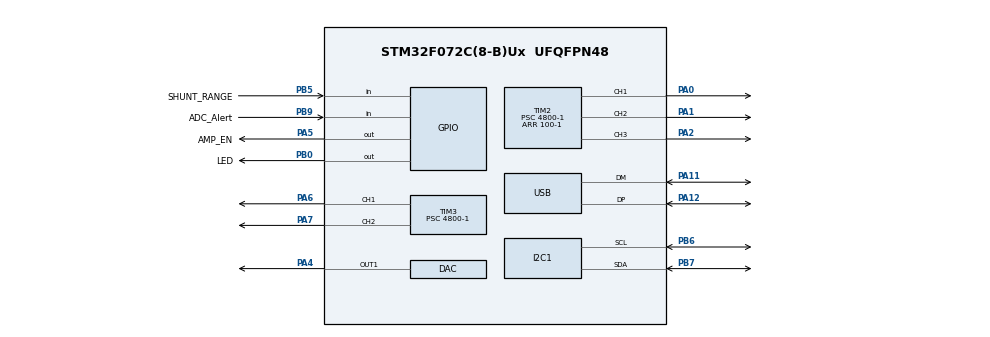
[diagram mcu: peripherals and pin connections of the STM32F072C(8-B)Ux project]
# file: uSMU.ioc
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Mcu.Family=STM32F0
Mcu.Name=STM32F072C(8-B)Ux
Mcu.Package=UFQFPN48
NVIC.USB_IRQn=true\:0\:0\:false\:false\:true\:false\:true
PA0.Signal=S_TIM2_CH1_ETR
PA1.Signal=S_TIM2_CH2
PA11.Mode=Device
PA11.Signal=USB_DM
PA12.Mode=Device
PA12.Signal=USB_DP
PA13.Mode=Serial_Wire
PA13.Signal=SYS_SWDIO
PA14.Mode=Serial_Wire
PA14.Signal=SYS_SWCLK
PA2.Signal=S_TIM2_CH3
PA4.Signal=COMP_DAC1_group
PA5.GPIO_Label=AMP_EN
PA5.Signal=GPIO_Output
PA6.Signal=S_TIM3_CH1
PA7.Signal=S_TIM3_CH2
PB0.GPIO_Label=LED
PB0.Signal=GPIO_Output
PB5.GPIO_Label=SHUNT_RANGE
PB5.Signal=GPIO_Input
PB6.Mode=I2C
PB6.Signal=I2C1_SCL
PB7.Mode=I2C
PB7.Signal=I2C1_SDA
PB9.GPIO_Label=ADC_Alert
PB9.GPIO_PuPd=GPIO_PULLUP
PB9.Signal=GPIO_Input
PF0-OSC_IN.Mode=HSE-External-Oscillator
PF0-OSC_IN.Signal=RCC_OSC_IN
PF1-OSC_OUT.Mode=HSE-External-Oscillator
PF1-OSC_OUT.Signal=RCC_OSC_OUT
ProjectManager.HeapSize=0x200
ProjectManager.StackSize=0x400
ProjectManager.TargetToolchain=STM32CubeIDE
RCC.AHBFreq_Value=48000000
RCC.APB1Freq_Value=48000000
RCC.APB1TimFreq_Value=48000000
RCC.HCLKFreq_Value=48000000
RCC.HSE_VALUE=16000000
RCC.PLLMUL=RCC_PLL_MUL3
RCC.SYSCLKFreq_VALUE=48000000
RCC.SYSCLKSource=RCC_SYSCLKSOURCE_PLLCLK
RCC.USBClockSelection=RCC_USBCLKSOURCE_PLL
RCC.USBFreq_Value=48000000
SH.COMP_DAC1_group.0=DAC_OUT1,DAC_OUT1
SH.S_TIM2_CH1_ETR.0=TIM2_CH1,PWM Generation1 CH1
SH.S_TIM2_CH2.0=TIM2_CH2,PWM Generation2 CH2
SH.S_TIM2_CH3.0=TIM2_CH3,PWM Generation3 CH3
SH.S_TIM3_CH1.0=TIM3_CH1,PWM Generation1 CH1
SH.S_TIM3_CH2.0=TIM3_CH2,PWM Generation2 CH2
TIM2.Channel-PWM\ Generation1\ CH1=TIM_CHANNEL_1
TIM2.Channel-PWM\ Generation2\ CH2=TIM_CHANNEL_2
TIM2.Channel-PWM\ Generation3\ CH3=TIM_CHANNEL_3
TIM2.Period=100-1
TIM2.Prescaler=4800-1
TIM3.Channel-PWM\ Generation1\ CH1=TIM_CHANNEL_1
TIM3.Channel-PWM\ Generation2\ CH2=TIM_CHANNEL_2
TIM3.Period=100-1
TIM3.Prescaler=4800-1
USB_DEVICE.CLASS_NAME_FS=CDC
USB_DEVICE.PRODUCT_STRING_CDC_FS=uSMU
USB_DEVICE.USBD_SELF_POWERED=0
USB_DEVICE.VirtualMode=Cdc
USB_DEVICE.VirtualModeFS=Cdc_FS
VP_TIM2_VS_ClockSourceINT.Mode=Internal
VP_TIM3_VS_ClockSourceINT.Mode=Internal
VP_USB_DEVICE_VS_USB_DEVICE_CDC_FS.Mode=CDC_FS
board=custom

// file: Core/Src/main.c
/* USER CODE BEGIN Header */
/**
 ******************************************************************************
 * @file           : main.c
 * @brief          : Main program body
 ******************************************************************************
 * @attention
 *
 * <h2><center>&copy; Copyright (c) 2020 STMicroelectronics.
 * All rights reserved.</center></h2>
 *
 * This software component is licensed by ST under Ultimate Liberty license
 * SLA0044, the "License"; You may not use this file except in compliance with
 * the License. You may obtain a copy of the License at:
 *                             www.st.com/SLA0044
 *
 ******************************************************************************
 */
/* USER CODE END Header */
#include "main.h"
#include "usb_device.h"

/* USER CODE BEGIN Includes */
#include "usbd_cdc_if.h"
#include "stdbool.h"
/* USER CODE END Includes */

/* USER CODE BEGIN PTD */
#define ADS1115_ADDRESS 0x48 // I2C addresses of ADC and DAC
#define MCP4725_ADDRESS 0x61
/* USER CODE END PTD */

DAC_HandleTypeDef hdac;

I2C_HandleTypeDef hi2c1;

TIM_HandleTypeDef htim2;
TIM_HandleTypeDef htim3;

/* USER CODE BEGIN PV */
uint8_t UserRxBuffer[2048];
bool usbMessageReceived = false;

float shunt_resistance = 13; // Resistance of shunt resistor in ohms
float i_amp_gain = 4; // Gain setting of current-sense amplifier

uint16_t num_oversamples = 25;

float zerocurrent_x = 3.44E-5;
float zerocurrent_y = 7.35E-5;

//float zerocurrent_x = 0;
//float zerocurrent_y = 0;

/* USER CODE END PV */

void SystemClock_Config(void);
static void MX_GPIO_Init(void);
static void MX_DAC_Init(void);
static void MX_I2C1_Init(void);
static void MX_TIM2_Init(void);
static void MX_TIM3_Init(void);

/* USER CODE BEGIN 0 */
uint16_t adc_read_differential(uint8_t channel)
{
	uint8_t conversion_reg = 0x00;
	uint8_t config_reg = 0x01;
	uint8_t lothresh_reg = 0x02;
	uint8_t hithresh_reg = 0x03;

	unsigned char ADSwrite[6];
	int16_t reading;

	switch (channel)
	{
	case 0:
		ADSwrite[1] = 0b10000011;
		break;
	case 2:
		ADSwrite[1] = 0b10110011;
		break;
	}

	HAL_GPIO_WritePin(LED_GPIO_Port, LED_Pin, GPIO_PIN_SET);

	ADSwrite[0] = config_reg; // Point to config register
	ADSwrite[2] = 0b10001000; // For Alert pin, set COMP_QUE to anything but 11. Active low

	HAL_I2C_Master_Transmit(&hi2c1, ADS1115_ADDRESS << 1, ADSwrite, 3, 100);

	while (HAL_GPIO_ReadPin(ADC_Alert_GPIO_Port, ADC_Alert_Pin) == 0)
	{
		HAL_GPIO_WritePin(LED_GPIO_Port, LED_Pin, GPIO_PIN_RESET);
	}
	HAL_GPIO_WritePin(LED_GPIO_Port, LED_Pin, GPIO_PIN_SET);

	//HAL_Delay(200);

	ADSwrite[0] = conversion_reg; // Now point to conversion register

	HAL_I2C_Master_Transmit(&hi2c1, ADS1115_ADDRESS << 1, ADSwrite, 1, 100);

	HAL_I2C_Master_Receive(&hi2c1, ADS1115_ADDRESS << 1, ADSwrite, 2, 100);
	reading = (ADSwrite[0] << 8 | ADSwrite[1]);

	return reading;
}

void adc_init()
{
	uint8_t conversion_reg = 0x00;
	uint8_t config_reg = 0x01;
	uint8_t lothresh_reg = 0x02;
	uint8_t hithresh_reg = 0x03;

	unsigned char ADSwrite[6];

	ADSwrite[0] = hithresh_reg;
	ADSwrite[1] = 0x80;
	ADSwrite[2] = 0x00;
	HAL_I2C_Master_Transmit(&hi2c1, ADS1115_ADDRESS << 1, ADSwrite, 3, 100);

	ADSwrite[0] = lothresh_reg;
	ADSwrite[1] = 0x7F;
	ADSwrite[2] = 0xFF;
	HAL_I2C_Master_Transmit(&hi2c1, ADS1115_ADDRESS << 1, ADSwrite, 3, 100);
}

uint16_t adc_read_singleended(uint8_t channel)
{
	uint8_t conversion_reg = 0x00;
	uint8_t config_reg = 0x01;
	uint8_t lothresh_reg = 0x02;
	uint8_t hithresh_reg = 0x03;

	unsigned char ADSwrite[6];
	int16_t reading;
	float voltage;
	const float voltageConv = 4.096 / 32768.0;

	switch (channel)
	{
	case 0:
		ADSwrite[1] = 0xC3;
		break;
	case 1:
		ADSwrite[1] = 0xD3;
		break;
	case 2:
		ADSwrite[1] = 0xE3;
		break;
	case 3:
		ADSwrite[1] = 0xF3;
		break;
	}
	HAL_GPIO_WritePin(LED_GPIO_Port, LED_Pin, GPIO_PIN_SET);

	ADSwrite[0] = config_reg; // Point to config register
	//ADSwrite[2] = 0x03; // Working well
	ADSwrite[2] = 0b10001000; // For Alert pin, set COMP_QUE to anything but 11. Active low

	HAL_I2C_Master_Transmit(&hi2c1, ADS1115_ADDRESS << 1, ADSwrite, 3, 100);

	while (HAL_GPIO_ReadPin(ADC_Alert_GPIO_Port, ADC_Alert_Pin) == 0)
	{
		HAL_GPIO_WritePin(LED_GPIO_Port, LED_Pin, GPIO_PIN_RESET);
	}
	HAL_GPIO_WritePin(LED_GPIO_Port, LED_Pin, GPIO_PIN_SET);

	//HAL_Delay(200);

	ADSwrite[0] = conversion_reg; // Now point to conversion register

	HAL_I2C_Master_Transmit(&hi2c1, ADS1115_ADDRESS << 1, ADSwrite, 1, 100);

	HAL_I2C_Master_Receive(&hi2c1, ADS1115_ADDRESS << 1, ADSwrite, 2, 100);
	reading = (ADSwrite[0] << 8 | ADSwrite[1]);
	if (reading < 0)
	{
		reading = 0;
	}
	//voltage = reading * voltageConv;
	return reading;
}

void set_current_limit(float current_ma)
{
	if (current_ma > 40)
	{
		float current_ma = 40;
	}
		float dac_level = (current_ma * 81.626) - 5.0612;

		uint16_t dac_level_int = (int) dac_level;

		HAL_DAC_SetValue(&hdac, DAC_CHANNEL_1, DAC_ALIGN_12B_R, dac_level_int);
		HAL_DAC_Start(&hdac, DAC_CHANNEL_1);
	}

	void amp_dac_write(uint16_t level)
	{
		unsigned char DACbuffer[3];

		DACbuffer[0] = 0x40; //Set write mode
		DACbuffer[1] = level >> 4;
		DACbuffer[2] = level << 4;

		HAL_I2C_Master_Transmit(&hi2c1, MCP4725_ADDRESS << 1, DACbuffer, 3,
				100);
	}

	void dac_write_voltage(float voltage)
	{
		uint16_t level = (int) (100.41 * voltage) + 1835;
		amp_dac_write(level);
	}

	void adc(uint8_t channel)
	{
		uint16_t adc = adc_read_differential(channel);
		char adcmsg[16];
		memset(adcmsg, 0, sizeof(adcmsg));
		sprintf(adcmsg, "%d", adc);
		CDC_Transmit_FS(adcmsg, sizeof(adcmsg));
	}

	void single_shot()
	{
		float voltage_running = 0;
		float current_running = 0;

		int currentTime = HAL_GetTick();

		for (int i = 0; i < num_oversamples; i++)
		{
			uint16_t v_measure = adc_read_singleended(0);
			int16_t i_measure = adc_read_differential(2);

			/*		float voltage = (v_measure * 0.000625) - 8.190538;
			 float current = (i_measure * 0.125 / 1000) / shunt_resistance
			 / i_amp_gain;

			 current = current + ((3.44E-5 * voltage) - 7.35E-5);*/

			/*		float voltage = v_measure * 0.125;
			 voltage = voltage / 1000;
			 voltage = voltage * 3.9947;
			 voltage = voltage - 6.1312;*/

			float voltage = (v_measure * 0.000625) - 8.190538;
			float current = (i_measure * 0.125 / 1000) / shunt_resistance
					/ i_amp_gain;

			current = current + ((zerocurrent_x * voltage) - zerocurrent_y);

			voltage_running += voltage;
			current_running += current;
		}

		voltage_running /= num_oversamples;
		current_running /= num_oversamples;

		int elapsedTime = HAL_GetTick() - currentTime;

		/*	char timemsg[32];
		 memset(timemsg, 0, sizeof(timemsg));
		 sprintf(timemsg, "%d", elapsedTime);
		 strcat(timemsg, "\n");
		 CDC_Transmit_FS(timemsg, sizeof(timemsg));*/

		char vmsg[32];
		char imsg[32];

		memset(vmsg, 0, sizeof(vmsg));
		memset(imsg, 0, sizeof(imsg));

		sprintf(vmsg, "%4.3f", voltage_running);
		sprintf(imsg, "%e", current_running);

		strcat(vmsg, ",");
		strcat(vmsg, imsg);

		strcat(vmsg, "\n");
		//RGB_Led_SetIntensity(1, 0, 0, 0);

		CDC_Transmit_FS(vmsg, sizeof(vmsg));

	}

	/*void RGB_LED_Init()
	 {
	 HAL_TIM_PWM_Start(&htim2, TIM_CHANNEL_1);
	 HAL_TIM_PWM_Start(&htim2, TIM_CHANNEL_2);
	 HAL_TIM_PWM_Start(&htim2, TIM_CHANNEL_3);

	 HAL_TIM_PWM_Start(&htim3, TIM_CHANNEL_1);
	 HAL_TIM_PWM_Start(&htim3, TIM_CHANNEL_2);
	 HAL_TIM_PWM_Start(&htim3, TIM_CHANNEL_3);
	 }*/

	/*void RGB_Led_SetIntensity(uint8_t channel, uint8_t red, uint8_t green, uint8_t blue)
	 {
	 switch (channel)
	 {
	 case 1:
	 htim2.Instance->CCR1 = 100 - red;
	 htim2.Instance->CCR2 = 100 - green;
	 htim2.Instance->CCR3 = 100 - blue;
	 break;
	 case 2:
	 htim3.Instance->CCR1 = 100 - red;
	 htim3.Instance->CCR2 = 100 - green;
	 htim3.Instance->CCR3 = 100 - blue;
	 break;
	 }
	 }*/
	/* USER CODE END 0 */

	/**
	 * @brief  The application entry point.
	 * @retval int
	 */
	int main(void)
	{

		/* MCU Configuration--------------------------------------------------------*/

		/* Reset of all peripherals, Initializes the Flash interface and the Systick. */
		HAL_Init();

		/* Configure the system clock */
		SystemClock_Config();

		/* Initialize all configured peripherals */
		MX_GPIO_Init();
		MX_DAC_Init();
		MX_I2C1_Init();
		MX_USB_DEVICE_Init();
		MX_TIM2_Init();
		MX_TIM3_Init();
		/* USER CODE BEGIN 2 */
		adc_init();
		HAL_GPIO_WritePin(LED_GPIO_Port, LED_Pin, GPIO_PIN_SET);

		//RGB_LED_Init();
		//RGB_Led_SetIntensity(1, 0, 0, 0);
		//RGB_Led_SetIntensity(2, 0, 0, 0);
		/* USER CODE END 2 */

		/* Infinite loop */
		/* USER CODE BEGIN WHILE */
		while (1)
		{

			if (usbMessageReceived == true)
			{
				//RGB_Led_SetIntensity(2, 0, 0, 100);

				char chRxBuffer[2048];

				// Take the uint8_t buffer and turn it into a char array
				for (int i = 0; i <= 2048; i++)
				{
					chRxBuffer[i] = UserRxBuffer[i];
				}

				usbMessageReceived = false;

				char manualDACSearch[] = "DAC";
				char adcSearch[] = "ADC";

				char ampEnableSearch[] = "CH1:ENA";
				char ampDisableSearch[] = "CH1:DIS";
				char setVoltageSearch[] = "CH1:VOL";
				char setMeasVoltageSearch[] = "CH1:MEA:VOL";
				char setCurrLimitSearch[] = "CH1:CUR";
				char setOversamplesSearch[] = "CH1:OSR";

				char *manualDACPtr = strstr(chRxBuffer, manualDACSearch);
				char *manualADCPtr = strstr(chRxBuffer, adcSearch);

				char *ampEnablePtr = strstr(chRxBuffer, ampEnableSearch);
				char *ampDisablePtr = strstr(chRxBuffer, ampDisableSearch);
				char *setVoltagePtr = strstr(chRxBuffer, setVoltageSearch);
				char *setMeasVoltagePtr = strstr(chRxBuffer,
						setMeasVoltageSearch);
				char *setCurrLimitPtr = strstr(chRxBuffer, setCurrLimitSearch);
				char *setOSRPtr = strstr(chRxBuffer, setOversamplesSearch);

				if (ampEnablePtr != NULL)
				{
					HAL_GPIO_WritePin(GPIOA, AMP_EN_Pin, 1);
				}

				else if (manualDACPtr != NULL)
				{
					strtok(chRxBuffer, " ");
					int requested_level = atoi(strtok(NULL, " "));
					amp_dac_write(requested_level);
				}

				else if (manualADCPtr != NULL)
				{
					strtok(chRxBuffer, " ");
					int requested_adc_channel = atoi(strtok(NULL, " "));
					adc(requested_adc_channel);
				}

				else if (ampDisablePtr != NULL)
				{
					HAL_GPIO_WritePin(GPIOA, AMP_EN_Pin, 0);
				}
				else if (setVoltagePtr != NULL)
				{
					strtok(chRxBuffer, " ");
					float requested_voltage = atof(strtok(NULL, " "));
					dac_write_voltage(requested_voltage);
				}
				else if (setMeasVoltagePtr != NULL)
				{
					strtok(chRxBuffer, " ");
					float requested_voltage = atof(strtok(NULL, " "));
					dac_write_voltage(requested_voltage);
					HAL_Delay(1); // DAC and V buffer take ~70us to stabilise
					single_shot();
				}

				else if (setCurrLimitPtr != NULL)
				{
					strtok(chRxBuffer, " ");
					float requested_current_limit = atof(strtok(NULL, " "));
					set_current_limit(requested_current_limit);
				}

				else if (setOSRPtr != NULL)
				{
					strtok(chRxBuffer, " ");
					num_oversamples = atoi(strtok(NULL, " "));
				}

				else
				{
					char msg[1024] = "Test string not found";
					strcat(msg, "\n");
					CDC_Transmit_FS(msg, sizeof(msg));
				}
			}
			//RGB_Led_SetIntensity(2, 0, 0, 0);

			/* USER CODE END WHILE */

		}
	}

	/**
	 * @brief System Clock Configuration
	 * @retval None
	 */
	void SystemClock_Config(void)
	{
		RCC_OscInitTypeDef RCC_OscInitStruct =
		{ 0 };
		RCC_ClkInitTypeDef RCC_ClkInitStruct =
		{ 0 };
		RCC_PeriphCLKInitTypeDef PeriphClkInit =
		{ 0 };

		/** Initializes the RCC Oscillators according to the specified parameters
		 * in the RCC_OscInitTypeDef structure.
		 */
		RCC_OscInitStruct.OscillatorType = RCC_OSCILLATORTYPE_HSI
				| RCC_OSCILLATORTYPE_HSE;
		RCC_OscInitStruct.HSEState = RCC_HSE_ON;
		RCC_OscInitStruct.HSIState = RCC_HSI_ON;
		RCC_OscInitStruct.HSICalibrationValue = RCC_HSICALIBRATION_DEFAULT;
		RCC_OscInitStruct.PLL.PLLState = RCC_PLL_ON;
		RCC_OscInitStruct.PLL.PLLSource = RCC_PLLSOURCE_HSE;
		RCC_OscInitStruct.PLL.PLLMUL = RCC_PLL_MUL3;
		RCC_OscInitStruct.PLL.PREDIV = RCC_PREDIV_DIV1;
		if (HAL_RCC_OscConfig(&RCC_OscInitStruct) != HAL_OK)
		{
			Error_Handler();
		}
		/** Initializes the CPU, AHB and APB buses clocks
		 */
		RCC_ClkInitStruct.ClockType = RCC_CLOCKTYPE_HCLK | RCC_CLOCKTYPE_SYSCLK
				| RCC_CLOCKTYPE_PCLK1;
		RCC_ClkInitStruct.SYSCLKSource = RCC_SYSCLKSOURCE_PLLCLK;
		RCC_ClkInitStruct.AHBCLKDivider = RCC_SYSCLK_DIV1;
		RCC_ClkInitStruct.APB1CLKDivider = RCC_HCLK_DIV1;

		if (HAL_RCC_ClockConfig(&RCC_ClkInitStruct, FLASH_LATENCY_1) != HAL_OK)
		{
			Error_Handler();
		}
		PeriphClkInit.PeriphClockSelection = RCC_PERIPHCLK_USB
				| RCC_PERIPHCLK_I2C1;
		PeriphClkInit.I2c1ClockSelection = RCC_I2C1CLKSOURCE_HSI;
		PeriphClkInit.UsbClockSelection = RCC_USBCLKSOURCE_PLL;

		if (HAL_RCCEx_PeriphCLKConfig(&PeriphClkInit) != HAL_OK)
		{
			Error_Handler();
		}
	}

	/**
	 * @brief DAC Initialization Function
	 * @param None
	 * @retval None
	 */
	static void MX_DAC_Init(void)
	{

		DAC_ChannelConfTypeDef sConfig =
		{ 0 };

		/** DAC Initialization
		 */
		hdac.Instance = DAC;
		if (HAL_DAC_Init(&hdac) != HAL_OK)
		{
			Error_Handler();
		}
		/** DAC channel OUT1 config
		 */
		sConfig.DAC_Trigger = DAC_TRIGGER_NONE;
		sConfig.DAC_OutputBuffer = DAC_OUTPUTBUFFER_ENABLE;
		if (HAL_DAC_ConfigChannel(&hdac, &sConfig, DAC_CHANNEL_1) != HAL_OK)
		{
			Error_Handler();
		}

	}

	/**
	 * @brief I2C1 Initialization Function
	 * @param None
	 * @retval None
	 */
	static void MX_I2C1_Init(void)
	{

		hi2c1.Instance = I2C1;
		hi2c1.Init.Timing = 0x2000090E;
		hi2c1.Init.OwnAddress1 = 0;
		hi2c1.Init.AddressingMode = I2C_ADDRESSINGMODE_7BIT;
		hi2c1.Init.DualAddressMode = I2C_DUALADDRESS_DISABLE;
		hi2c1.Init.OwnAddress2 = 0;
		hi2c1.Init.OwnAddress2Masks = I2C_OA2_NOMASK;
		hi2c1.Init.GeneralCallMode = I2C_GENERALCALL_DISABLE;
		hi2c1.Init.NoStretchMode = I2C_NOSTRETCH_DISABLE;
		if (HAL_I2C_Init(&hi2c1) != HAL_OK)
		{
			Error_Handler();
		}
		/** Configure Analogue filter
		 */
		if (HAL_I2CEx_ConfigAnalogFilter(&hi2c1, I2C_ANALOGFILTER_ENABLE)
				!= HAL_OK)
		{
			Error_Handler();
		}
		/** Configure Digital filter
		 */
		if (HAL_I2CEx_ConfigDigitalFilter(&hi2c1, 0) != HAL_OK)
		{
			Error_Handler();
		}

	}

	/**
	 * @brief TIM2 Initialization Function
	 * @param None
	 * @retval None
	 */
	static void MX_TIM2_Init(void)
	{

		TIM_ClockConfigTypeDef sClockSourceConfig =
		{ 0 };
		TIM_MasterConfigTypeDef sMasterConfig =
		{ 0 };
		TIM_OC_InitTypeDef sConfigOC =
		{ 0 };

		htim2.Instance = TIM2;
		htim2.Init.Prescaler = 4800 - 1;
		htim2.Init.CounterMode = TIM_COUNTERMODE_UP;
		htim2.Init.Period = 100 - 1;
		htim2.Init.ClockDivision = TIM_CLOCKDIVISION_DIV1;
		htim2.Init.AutoReloadPreload = TIM_AUTORELOAD_PRELOAD_DISABLE;
		if (HAL_TIM_Base_Init(&htim2) != HAL_OK)
		{
			Error_Handler();
		}
		sClockSourceConfig.ClockSource = TIM_CLOCKSOURCE_INTERNAL;
		if (HAL_TIM_ConfigClockSource(&htim2, &sClockSourceConfig) != HAL_OK)
		{
			Error_Handler();
		}
		if (HAL_TIM_PWM_Init(&htim2) != HAL_OK)
		{
			Error_Handler();
		}
		sMasterConfig.MasterOutputTrigger = TIM_TRGO_RESET;
		sMasterConfig.MasterSlaveMode = TIM_MASTERSLAVEMODE_DISABLE;
		if (HAL_TIMEx_MasterConfigSynchronization(&htim2, &sMasterConfig)
				!= HAL_OK)
		{
			Error_Handler();
		}
		sConfigOC.OCMode = TIM_OCMODE_PWM1;
		sConfigOC.Pulse = 0;
		sConfigOC.OCPolarity = TIM_OCPOLARITY_HIGH;
		sConfigOC.OCFastMode = TIM_OCFAST_DISABLE;
		if (HAL_TIM_PWM_ConfigChannel(&htim2, &sConfigOC, TIM_CHANNEL_1)
				!= HAL_OK)
		{
			Error_Handler();
		}
		if (HAL_TIM_PWM_ConfigChannel(&htim2, &sConfigOC, TIM_CHANNEL_2)
				!= HAL_OK)
		{
			Error_Handler();
		}
		if (HAL_TIM_PWM_ConfigChannel(&htim2, &sConfigOC, TIM_CHANNEL_3)
				!= HAL_OK)
		{
			Error_Handler();
		}
		HAL_TIM_MspPostInit(&htim2);

	}

	/**
	 * @brief TIM3 Initialization Function
	 * @param None
	 * @retval None
	 */
	static void MX_TIM3_Init(void)
	{

		TIM_ClockConfigTypeDef sClockSourceConfig =
		{ 0 };
		TIM_MasterConfigTypeDef sMasterConfig =
		{ 0 };
		TIM_OC_InitTypeDef sConfigOC =
		{ 0 };

		htim3.Instance = TIM3;
		htim3.Init.Prescaler = 4800 - 1;
		htim3.Init.CounterMode = TIM_COUNTERMODE_UP;
		htim3.Init.Period = 100 - 1;
		htim3.Init.ClockDivision = TIM_CLOCKDIVISION_DIV1;
		htim3.Init.AutoReloadPreload = TIM_AUTORELOAD_PRELOAD_DISABLE;
		if (HAL_TIM_Base_Init(&htim3) != HAL_OK)
		{
			Error_Handler();
		}
		sClockSourceConfig.ClockSource = TIM_CLOCKSOURCE_INTERNAL;
		if (HAL_TIM_ConfigClockSource(&htim3, &sClockSourceConfig) != HAL_OK)
		{
			Error_Handler();
		}
		if (HAL_TIM_PWM_Init(&htim3) != HAL_OK)
		{
			Error_Handler();
		}
		sMasterConfig.MasterOutputTrigger = TIM_TRGO_RESET;
		sMasterConfig.MasterSlaveMode = TIM_MASTERSLAVEMODE_DISABLE;
		if (HAL_TIMEx_MasterConfigSynchronization(&htim3, &sMasterConfig)
				!= HAL_OK)
		{
			Error_Handler();
		}
		sConfigOC.OCMode = TIM_OCMODE_PWM1;
		sConfigOC.Pulse = 0;
		sConfigOC.OCPolarity = TIM_OCPOLARITY_HIGH;
		sConfigOC.OCFastMode = TIM_OCFAST_DISABLE;
		if (HAL_TIM_PWM_ConfigChannel(&htim3, &sConfigOC, TIM_CHANNEL_1)
				!= HAL_OK)
		{
			Error_Handler();
		}
		if (HAL_TIM_PWM_ConfigChannel(&htim3, &sConfigOC, TIM_CHANNEL_2)
				!= HAL_OK)
		{
			Error_Handler();
		}
		HAL_TIM_MspPostInit(&htim3);

	}

	/**
	 * @brief GPIO Initialization Function
	 * @param None
	 * @retval None
	 */
	static void MX_GPIO_Init(void)
	{
		GPIO_InitTypeDef GPIO_InitStruct =
		{ 0 };

		/* GPIO Ports Clock Enable */
		__HAL_RCC_GPIOF_CLK_ENABLE();
		__HAL_RCC_GPIOA_CLK_ENABLE();
		__HAL_RCC_GPIOB_CLK_ENABLE();

		/*Configure GPIO pin Output Level */
		HAL_GPIO_WritePin(AMP_EN_GPIO_Port, AMP_EN_Pin, GPIO_PIN_RESET);

		/*Configure GPIO pin Output Level */
		HAL_GPIO_WritePin(LED_GPIO_Port, LED_Pin, GPIO_PIN_RESET);

		/*Configure GPIO pin : AMP_EN_Pin */
		GPIO_InitStruct.Pin = AMP_EN_Pin;
		GPIO_InitStruct.Mode = GPIO_MODE_OUTPUT_PP;
		GPIO_InitStruct.Pull = GPIO_NOPULL;
		GPIO_InitStruct.Speed = GPIO_SPEED_FREQ_LOW;
		HAL_GPIO_Init(AMP_EN_GPIO_Port, &GPIO_InitStruct);

		/*Configure GPIO pin : LED_Pin */
		GPIO_InitStruct.Pin = LED_Pin;
		GPIO_InitStruct.Mode = GPIO_MODE_OUTPUT_PP;
		GPIO_InitStruct.Pull = GPIO_NOPULL;
		GPIO_InitStruct.Speed = GPIO_SPEED_FREQ_LOW;
		HAL_GPIO_Init(LED_GPIO_Port, &GPIO_InitStruct);

		/*Configure GPIO pin : SHUNT_RANGE_Pin */
		GPIO_InitStruct.Pin = SHUNT_RANGE_Pin;
		GPIO_InitStruct.Mode = GPIO_MODE_INPUT;
		GPIO_InitStruct.Pull = GPIO_NOPULL;
		HAL_GPIO_Init(SHUNT_RANGE_GPIO_Port, &GPIO_InitStruct);

		/*Configure GPIO pin : ADC_Alert_Pin */
		GPIO_InitStruct.Pin = ADC_Alert_Pin;
		GPIO_InitStruct.Mode = GPIO_MODE_INPUT;
		GPIO_InitStruct.Pull = GPIO_PULLUP;
		HAL_GPIO_Init(ADC_Alert_GPIO_Port, &GPIO_InitStruct);

	}

	/**
	 * @brief  This function is executed in case of error occurrence.
	 * @retval None
	 */
	void Error_Handler(void)
	{
	}

	/************************ (C) COPYRIGHT STMicroelectronics *****END OF FILE****/
